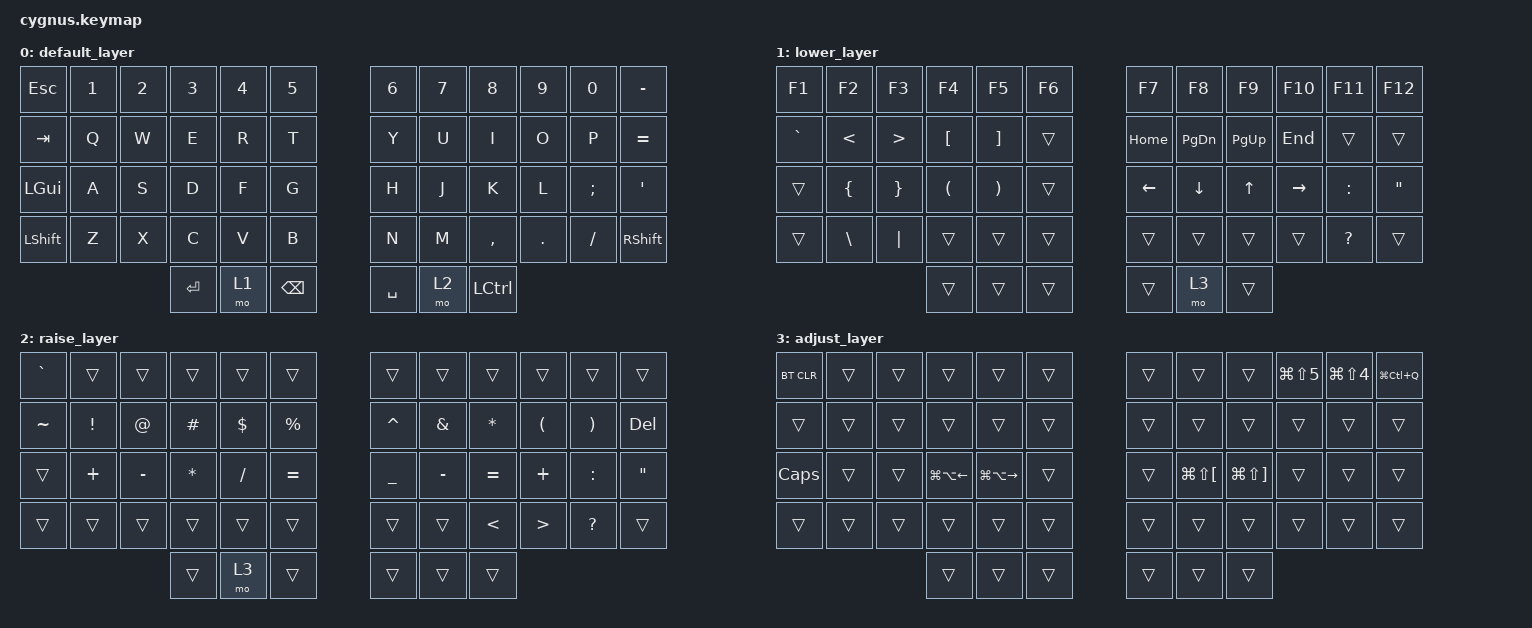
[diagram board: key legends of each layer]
#include <behaviors.dtsi>
#include <dt-bindings/zmk/keys.h>
#include <dt-bindings/zmk/bt.h>

/ {
    keymap {
        compatible = "zmk,keymap";

        default_layer {
            // -----------------------------------------------------------------------------------------
            // |  ESC |  1  |  2  |  3  |  4  |  5  |   |  6  |  7   |  8  |  9  |  0  |   -   |
            // |  TAB |  Q  |  W  |  E  |  R  |  T  |   |  Y  |  U   |  I  |  O  |  P  |   =   |
            // |  CMD |  A  |  S  |  D  |  F  |  G  |   |  H  |  J   |  K  |  L  |  ;  |   '   |
            // | SHFT |  Z  |  X  |  C  |  V  |  B  |   |  N  |  M   |  ,  |  .  |  /  |  SHFT |
            //                    | ENTR| LWR | BKSP|   | SPC | RSE  | CTRL|

            bindings = <
                &kp ESC    &kp N1  &kp N2  &kp N3   &kp N4  &kp N5      &kp N6     &kp N7  &kp N8     &kp N9   &kp N0    &kp MINUS
                &kp TAB    &kp Q   &kp W   &kp E    &kp R   &kp T       &kp Y      &kp U   &kp I      &kp O    &kp P     &kp EQUAL
                &kp LGUI   &kp A   &kp S   &kp D    &kp F   &kp G       &kp H      &kp J   &kp K      &kp L    &kp SEMI  &kp SQT
                &kp LSHFT  &kp Z   &kp X   &kp C    &kp V   &kp B       &kp N      &kp M   &kp COMMA  &kp DOT  &kp FSLH  &kp RSHFT
                                           &kp RET  &mo 1   &kp BSPC    &kp SPACE  &mo 2   &kp LCTRL
            >;
        };

        lower_layer {
            // LOWER LAYER - Navigation & Brackets (left thumb)
            // -----------------------------------------------------------------------------------------
            // |  F1  |  F2 |  F3 |  F4 |  F5 |  F6 |   |  F7 |  F8 |  F9 | F10 | F11 | F12  |
            // |   `  |  <  |  >  |  [  |  ]  |     |   | HOME| PGDN| PGUP| END |     |      |
            // |      |  {  |  }  |  (  |  )  |     |   | LEFT| DOWN|  UP | RGT |  :  |  "   |
            // |      |  \  |  |  |     |     |     |   |     |     |     |     |  ?  |      |
            //                    |     |     |     |   |     | ADJ |     |

            bindings = <
                &kp F1     &kp F2    &kp F3    &kp F4    &kp F5    &kp F6      &kp F7    &kp F8    &kp F9    &kp F10   &kp F11   &kp F12
                &kp GRAVE  &kp LT    &kp GT    &kp LBKT  &kp RBKT  &trans      &kp HOME  &kp PG_DN &kp PG_UP &kp END   &trans    &trans
                &trans     &kp LBRC  &kp RBRC  &kp LPAR  &kp RPAR  &trans      &kp LEFT  &kp DOWN  &kp UP    &kp RIGHT &kp COLON &kp DQT
                &trans     &kp BSLH  &kp PIPE  &trans    &trans    &trans      &trans    &trans    &trans    &trans    &kp QMARK &trans
                                               &trans    &trans    &trans      &trans    &mo 3     &trans
            >;
        };

        raise_layer {
            // RAISE LAYER - Symbols (right thumb)
            // -----------------------------------------------------------------------------------------
            // |   `  |     |     |     |     |     |   |     |     |     |     |     |      |
            // |   ~  |  !  |  @  |  #  |  $  |  %  |   |  ^  |  &  |  *  |  (  |  )  |  DEL |
            // |      |  +  |  -  |  *  |  /  |  =  |   |  _  |  -  |  =  |  +  |  :  |   "  |
            // |      |     |     |     |     |     |   |     |     |  <  |  >  |  ?  |      |
            //                    |     | ADJ |     |   |     |     |     |

            bindings = <
                &kp GRAVE  &trans    &trans    &trans    &trans    &trans        &trans    &trans    &trans    &trans    &trans    &trans
                &kp TILDE  &kp EXCL  &kp AT    &kp HASH  &kp DLLR  &kp PRCNT     &kp CARET &kp AMPS  &kp ASTRK &kp LPAR  &kp RPAR  &kp DEL
                &trans     &kp PLUS  &kp MINUS &kp ASTRK &kp FSLH  &kp EQUAL     &kp UNDER &kp MINUS &kp EQUAL &kp PLUS  &kp COLON &kp DQT
                &trans     &trans    &trans    &trans    &trans    &trans        &trans    &trans    &kp LT    &kp GT    &kp QMARK &trans
                                               &trans    &mo 3     &trans        &trans    &trans    &trans
            >;
        };

        adjust_layer {
            // ADJUST LAYER - Bluetooth & System (both thumbs: LWR + RSE)
            // -----------------------------------------------------------------------------------------
            // | BTCLR|     |     |     |     |     |   |     |     |     | SCRN| SNIP | LOCK |
            // |      |     |     |     |     |     |   |     |     |     |     |     |      |
            // | CAPS |     |     |PNLFT|PNRGT|     |   |     |TABLFT|TABRGT|    |     |      |
            // |      |     |     |     |     |     |   |     |     |     |     |     |      |
            //                    |     |     |     |   |     |     |     |

            bindings = <
                &bt BT_CLR &trans &trans &trans             &trans              &trans      &trans &trans             &trans             &kp LG(LS(N5)) &kp LG(LS(N4)) &kp LG(LC(Q))
                &trans     &trans &trans &trans             &trans              &trans      &trans &trans             &trans              &trans         &trans         &trans
                &kp CAPS   &trans &trans &kp LG(LA(LEFT))  &kp LG(LA(RIGHT))  &trans      &trans &kp LG(LS(LBKT))  &kp LG(LS(RBKT))   &trans         &trans         &trans
                &trans     &trans &trans &trans             &trans              &trans      &trans &trans             &trans              &trans         &trans         &trans
                                         &trans             &trans              &trans      &trans &trans             &trans
            >;
        };
    };
};
